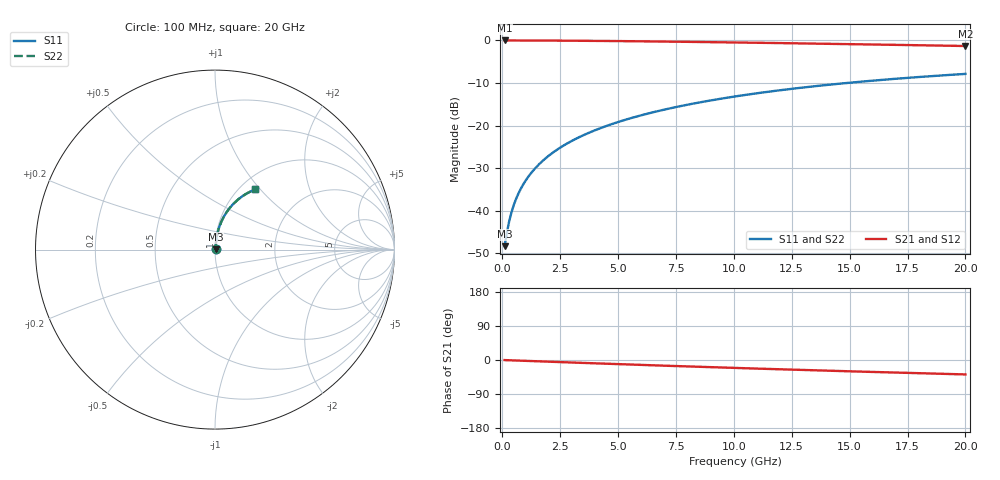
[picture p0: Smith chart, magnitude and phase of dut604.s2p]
! Touchstone file exported from HFSS 2024.1.0
!  File:  C:/UserFiles/LocalFiles/RDL_TSV_Batchsim/temp_RDL_bottom_604_1779783347.aedt
!  Generated:  04:18:38 PM May 26, 2026
!  Design:  RDL_bottom
!  Project:  temp_RDL_bottom_604_1779783347
!  Setup:  Setup1
!  Solution:  Sweep
! Variables:
!  dtsv = 10.80580581um
!  hbump = 3um
!  htsv = 71.52um
!  ldown = 505.46um
!  lrdl = 100um
!  p = 40
!  p1 = 48.58um
!  rhole = 1um
!  t = 450um
!  tdown = 3.85um
!  trdl = 3.915915916um
!  wdown = 15.8um
!  wrdl = 20um
# GHz S MA R 50.000000
! Terminal data exported
! Port[1] = RDL1_T1
! Port[2] = RDL1_T2
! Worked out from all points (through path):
!   200 points, 100 MHz to 20 GHz, reference 50 ohm
!   highest |S21| = -0.03 dB at 100 MHz (marker M1); lowest = -1.3 dB at 20 GHz (marker M2)
!   group delay of S21, straight-line fit = 5.27 ps
!   lowest |S11| = -48.3 dB at 100 MHz (marker M3), VSWR 1.01, Z = 50.3 + j0.233 ohm
!   |S11| at or under -10 dB: start of sweep to 14.89 GHz
!   |S22| runs from -48.3 to -7.9 dB; largest |S21 - S12| = 3.3e-15
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0.1  0.003844 37.1  0.9969 -0.2  0.9969 -0.2  0.003844 37.1
! Gamma 0 0 0 0
! Port Impedance 50 0 50 0
0.2  0.005581 55.5  0.9968 -0.5  0.9968 -0.5  0.005581 55.5
0.3  0.007586 64.4  0.9967 -0.7  0.9967 -0.7  0.007586 64.4
0.4  0.009665 69.4  0.9966 -0.9  0.9966 -0.9  0.009665 69.4
0.5  0.01177 72.6  0.9964 -1.1  0.9964 -1.1  0.01177 72.6
0.6  0.01389 74.8  0.9963 -1.4  0.9963 -1.4  0.01389 74.8
0.8  0.01815 77.6  0.996 -1.8  0.996 -1.8  0.01815 77.6
1.1  0.02459 80.0  0.9956 -2.5  0.9956 -2.5  0.02459 80.0
1.5  0.03326 81.5  0.9948 -3.3  0.9948 -3.3  0.03325 81.5
1.8  0.03978 82.1  0.9941 -4.0  0.9941 -4.0  0.03978 82.1
2.1  0.04633 82.3  0.9933 -4.7  0.9933 -4.7  0.04633 82.3
2.7  0.05946 82.4  0.9913 -6.0  0.9913 -6.0  0.05946 82.4
3.5  0.07702 82.0  0.9881 -7.7  0.9881 -7.7  0.07702 82.0
4.2  0.09241 81.3  0.9847 -9.2  0.9847 -9.2  0.09242 81.3
5  0.11 80.4  0.9804 -10.9  0.9804 -10.9  0.11 80.4
5.9  0.1298 79.2  0.9749 -12.8  0.9749 -12.8  0.1298 79.2
6.8  0.1496 77.9  0.969 -14.6  0.969 -14.6  0.1496 77.9
8.4  0.1844 75.4  0.9574 -17.8  0.9574 -17.8  0.1844 75.4
10.1  0.2206 72.6  0.9442 -21.0  0.9442 -21.0  0.2206 72.6
13.4  0.2877 67.0  0.9166 -27.0  0.9166 -27.0  0.2877 67.0
16.7  0.349 61.4  0.8876 -32.7  0.8876 -32.7  0.3491 61.5
20  0.4038 56.1  0.8581 -38.1  0.8581 -38.1  0.4039 56.2
